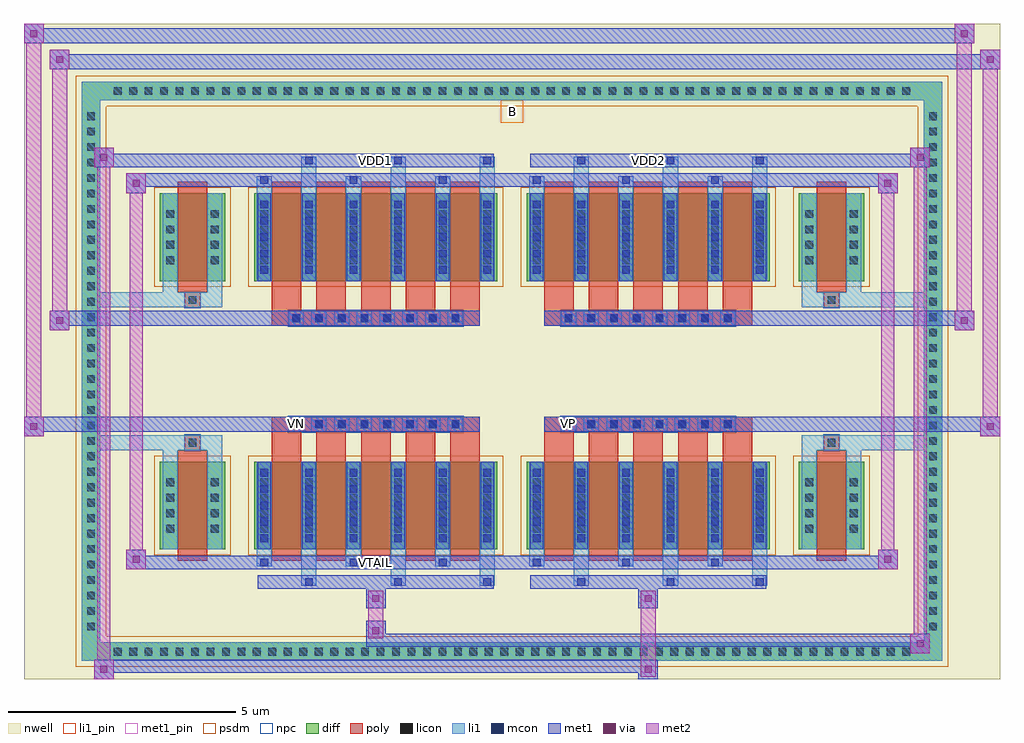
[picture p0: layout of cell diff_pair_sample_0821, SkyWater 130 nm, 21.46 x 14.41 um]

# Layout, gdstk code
import gdstk
lib = gdstk.Library(unit=1e-6, precision=5e-09)
def R(c, l, rs):  # rectangles x0, y0, x1, y1
    for r in rs: c.add(gdstk.rectangle(r[:2], r[2:], *l))
def A(c, l, x, y, w, h, nx, ny, dx, dy):  # array of equal rectangles
    R(c, l, [(x+i*dx, y+j*dy, x+i*dx+w, y+j*dy+h) for i in range(nx) for j in range(ny)])
def P(c, l, *ps):  # polygons
    for p in ps: c.add(gdstk.Polygon(p, *l))
nwell = (64, 20)
diff = (65, 20)
poly = (66, 20)
licon = (66, 44)
li1_pin = (67, 16)
li1 = (67, 20)
mcon = (67, 44)
met1_pin = (68, 16)
met1 = (68, 20)
via = (68, 44)
met2 = (69, 20)
psdm = (94, 20)
npc = (95, 20)

diff_pair_sample_0821 = lib.new_cell('diff_pair_sample_0821')
R(diff_pair_sample_0821, nwell, [(-10.73,-6.77,10.73,7.64), (-8.05,-4.96,-0.01,-0.8), (0.01,-4.96,8.05,-0.8), (-8.05,0.8,-0.01,4.96), (0.01,0.8,8.05,4.96)])
A(diff_pair_sample_0821, diff, -8.875, -6.37, 0.41, 0.41, 52, 2, 0.34, 12.33)
A(diff_pair_sample_0821, diff, -9.46, -5.815, 0.41, 0.41, 1, 34, 0, 0.34)
A(diff_pair_sample_0821, diff, 9.05, -5.815, 0.41, 0.41, 1, 34, 0, 0.34)
R(diff_pair_sample_0821, diff, [(-8.875,-6.37,8.875,-5.96), (-9.46,-5.815,-9.05,5.815), (9.05,-5.815,9.46,5.815), (-7.74,-3.915,-6.31,-1.985), (-5.67,-3.915,-0.32,-1.985), (0.32,-3.915,5.67,-1.985), (6.31,-3.915,7.74,-1.985), (-7.74,1.985,-6.31,3.915), (-5.67,1.985,-0.32,3.915), (0.32,1.985,5.67,3.915), (6.31,1.985,7.74,3.915), (-8.875,5.96,8.875,6.37)])
P(diff_pair_sample_0821, diff, [(9.46,6.37),(-9.46,6.37),(-9.46,-5.96),(-9.05,-5.96),(-9.05,5.96),(9.05,5.96),(9.05,-5.96),(-9.05,-5.96),(-9.46,-5.96),(-9.46,-6.37),(9.46,-6.37)])
A(diff_pair_sample_0821, poly, -5.28, -4.165, 0.65, 2.43, 5, 2, 0.98, 5.9)
A(diff_pair_sample_0821, poly, 0.71, -4.165, 0.65, 2.43, 5, 2, 0.98, 5.9)
A(diff_pair_sample_0821, poly, -5.28, -1.735, 0.65, 0.405, 5, 2, 0.98, 3.065)
A(diff_pair_sample_0821, poly, 0.71, -1.735, 0.65, 0.405, 5, 2, 0.98, 3.065)
A(diff_pair_sample_0821, poly, -4.91, -1.33, 0.33, 0.33, 8, 2, 0.5, 2.33)
A(diff_pair_sample_0821, poly, 1.08, -1.33, 0.33, 0.33, 8, 2, 0.5, 2.33)
R(diff_pair_sample_0821, poly, [(-7.35,-4.165,-6.7,-1.735), (6.7,-4.165,7.35,-1.735), (-7.19,-1.735,-6.86,-1.405), (-7.19,-1.735,-6.86,-1.405), (6.86,-1.735,7.19,-1.405), (6.86,-1.735,7.19,-1.405), (-5.28,-1.33,-0.71,-1), (0.71,-1.33,5.28,-1), (-5.28,1,-0.71,1.33), (0.71,1,5.28,1.33), (-7.19,1.405,-6.86,1.735), (-7.19,1.405,-6.86,1.735), (6.86,1.405,7.19,1.735), (6.86,1.405,7.19,1.735), (-7.35,1.735,-6.7,4.165), (6.7,1.735,7.35,4.165)])
A(diff_pair_sample_0821, licon, -8.755, -6.25, 0.17, 0.17, 52, 2, 0.34, 12.33)
A(diff_pair_sample_0821, licon, -9.34, -5.695, 0.17, 0.17, 1, 34, 0, 0.34)
A(diff_pair_sample_0821, licon, 9.17, -5.695, 0.17, 0.17, 1, 34, 0, 0.34)
A(diff_pair_sample_0821, licon, -7.6, -3.545, 0.17, 0.17, 1, 4, 0, 0.34)
A(diff_pair_sample_0821, licon, -6.62, -3.545, 0.17, 0.17, 1, 4, 0, 0.34)
A(diff_pair_sample_0821, licon, -5.53, -3.545, 0.17, 0.17, 6, 4, 0.98, 0.34)
A(diff_pair_sample_0821, licon, 0.46, -3.545, 0.17, 0.17, 6, 4, 0.98, 0.34)
A(diff_pair_sample_0821, licon, 6.45, -3.545, 0.17, 0.17, 1, 4, 0, 0.34)
A(diff_pair_sample_0821, licon, 7.43, -3.545, 0.17, 0.17, 1, 4, 0, 0.34)
A(diff_pair_sample_0821, licon, -4.83, -1.25, 0.17, 0.17, 8, 2, 0.5, 2.33)
A(diff_pair_sample_0821, licon, 1.16, -1.25, 0.17, 0.17, 8, 2, 0.5, 2.33)
A(diff_pair_sample_0821, licon, -7.6, 2.355, 0.17, 0.17, 1, 4, 0, 0.34)
A(diff_pair_sample_0821, licon, -6.62, 2.355, 0.17, 0.17, 1, 4, 0, 0.34)
A(diff_pair_sample_0821, licon, -5.53, 2.355, 0.17, 0.17, 6, 4, 0.98, 0.34)
A(diff_pair_sample_0821, licon, 0.46, 2.355, 0.17, 0.17, 6, 4, 0.98, 0.34)
A(diff_pair_sample_0821, licon, 6.45, 2.355, 0.17, 0.17, 1, 4, 0, 0.34)
A(diff_pair_sample_0821, licon, 7.43, 2.355, 0.17, 0.17, 1, 4, 0, 0.34)
R(diff_pair_sample_0821, licon, [(-7.11,-1.655,-6.94,-1.485), (6.94,-1.655,7.11,-1.485), (-7.11,1.485,-6.94,1.655), (6.94,1.485,7.11,1.655)])
R(diff_pair_sample_0821, li1_pin, [(-0.25,5.46,0.25,5.96)])
A(diff_pair_sample_0821, li1, -8.835, -6.33, 0.33, 0.33, 52, 2, 0.34, 12.33)
A(diff_pair_sample_0821, li1, -9.42, -5.775, 0.33, 0.33, 1, 34, 0, 0.34)
A(diff_pair_sample_0821, li1, 9.09, -5.775, 0.33, 0.33, 1, 34, 0, 0.34)
A(diff_pair_sample_0821, li1, -4.63, -4.72, 0.33, 0.805, 3, 2, 1.96, 8.635)
A(diff_pair_sample_0821, li1, -4.55, -4.72, 0.17, 0.17, 3, 2, 1.96, 9.27)
A(diff_pair_sample_0821, li1, 1.36, -4.72, 0.33, 0.805, 3, 2, 1.96, 8.635)
A(diff_pair_sample_0821, li1, 1.44, -4.72, 0.17, 0.17, 3, 2, 1.96, 9.27)
A(diff_pair_sample_0821, li1, -5.61, -4.29, 0.33, 0.375, 3, 2, 1.96, 8.205)
A(diff_pair_sample_0821, li1, -5.53, -4.29, 0.17, 0.17, 3, 2, 1.96, 8.41)
A(diff_pair_sample_0821, li1, 0.38, -4.29, 0.33, 0.375, 3, 2, 1.96, 8.205)
A(diff_pair_sample_0821, li1, 0.46, -4.29, 0.17, 0.17, 3, 2, 1.96, 8.41)
A(diff_pair_sample_0821, li1, -5.61, -3.915, 0.33, 1.93, 6, 2, 0.98, 5.9)
A(diff_pair_sample_0821, li1, 0.38, -3.915, 0.33, 1.93, 6, 2, 0.98, 5.9)
A(diff_pair_sample_0821, li1, -5.53, -3.755, 0.17, 0.17, 6, 5, 0.98, 0.36)
A(diff_pair_sample_0821, li1, -5.53, -3.755, 0.17, 1.61, 6, 2, 0.98, 5.9)
A(diff_pair_sample_0821, li1, 0.46, -3.755, 0.17, 0.17, 6, 5, 0.98, 0.36)
A(diff_pair_sample_0821, li1, 0.46, -3.755, 0.17, 1.61, 6, 2, 0.98, 5.9)
A(diff_pair_sample_0821, li1, -7.68, -3.625, 0.33, 0.33, 1, 4, 0, 0.34)
A(diff_pair_sample_0821, li1, -6.7, -3.625, 0.33, 0.33, 1, 4, 0, 0.34)
A(diff_pair_sample_0821, li1, -5.61, -3.625, 0.33, 0.33, 6, 4, 0.98, 0.34)
A(diff_pair_sample_0821, li1, 0.38, -3.625, 0.33, 0.33, 6, 4, 0.98, 0.34)
A(diff_pair_sample_0821, li1, 6.37, -3.625, 0.33, 0.33, 1, 4, 0, 0.34)
A(diff_pair_sample_0821, li1, 7.35, -3.625, 0.33, 0.33, 1, 4, 0, 0.34)
A(diff_pair_sample_0821, li1, -4.91, -1.33, 0.33, 0.33, 8, 2, 0.5, 2.33)
A(diff_pair_sample_0821, li1, 1.08, -1.33, 0.33, 0.33, 8, 2, 0.5, 2.33)
A(diff_pair_sample_0821, li1, -5.53, 2.145, 0.17, 0.17, 6, 5, 0.98, 0.36)
A(diff_pair_sample_0821, li1, 0.46, 2.145, 0.17, 0.17, 6, 5, 0.98, 0.36)
A(diff_pair_sample_0821, li1, -7.68, 2.275, 0.33, 0.33, 1, 4, 0, 0.34)
A(diff_pair_sample_0821, li1, -6.7, 2.275, 0.33, 0.33, 1, 4, 0, 0.34)
A(diff_pair_sample_0821, li1, -5.61, 2.275, 0.33, 0.33, 6, 4, 0.98, 0.34)
A(diff_pair_sample_0821, li1, 0.38, 2.275, 0.33, 0.33, 6, 4, 0.98, 0.34)
A(diff_pair_sample_0821, li1, 6.37, 2.275, 0.33, 0.33, 1, 4, 0, 0.34)
A(diff_pair_sample_0821, li1, 7.35, 2.275, 0.33, 0.33, 1, 4, 0, 0.34)
R(diff_pair_sample_0821, li1, [(-9.46,-6.37,-9.05,-5.96), (-9.46,-6.37,-9.05,-5.96), (-9.05,-6.37,9.05,-5.96), (9.05,-6.37,9.46,-5.96), (9.05,-6.37,9.46,-5.96), (-9.46,-5.96,-9.05,5.96), (9.05,-5.96,9.46,5.96), (-7.68,-3.915,-7.35,-1.985), (-6.7,-3.915,-6.37,-1.985), (6.37,-3.915,6.7,-1.985), (7.35,-3.915,7.68,-1.985), (-7.68,-1.985,-7.35,-1.405), (-6.7,-1.985,-6.37,-1.405), (6.37,-1.985,6.7,-1.405), (7.35,-1.985,7.68,-1.405), (-9.46,-1.735,-7.19,-1.405), (-7.68,-1.735,-7.19,-1.405), (-7.19,-1.735,-6.86,-1.405), (-6.86,-1.735,-6.37,-1.405), (6.37,-1.735,6.86,-1.405), (6.86,-1.735,7.19,-1.405), (6.86,-1.735,9.46,-1.405), (7.19,-1.735,7.68,-1.405), (-9.46,1.405,-7.19,1.735), (-7.68,1.405,-7.19,1.735), (-7.68,1.405,-7.35,1.985), (-7.19,1.405,-6.86,1.735), (-6.86,1.405,-6.37,1.735), (-6.7,1.405,-6.37,1.985), (6.37,1.405,6.86,1.735), (6.37,1.405,6.7,1.985), (6.86,1.405,7.19,1.735), (6.86,1.405,9.46,1.735), (7.19,1.405,7.68,1.735), (7.35,1.405,7.68,1.985), (-7.68,1.985,-7.35,3.915), (-6.7,1.985,-6.37,3.915), (6.37,1.985,6.7,3.915), (7.35,1.985,7.68,3.915), (-9.46,5.96,-9.05,6.37), (-9.46,5.96,-9.05,6.37), (-9.05,5.96,9.05,6.37), (9.05,5.96,9.46,6.37), (9.05,5.96,9.46,6.37)])
A(diff_pair_sample_0821, mcon, -4.55, -4.72, 0.17, 0.17, 3, 2, 1.96, 9.27)
A(diff_pair_sample_0821, mcon, 1.44, -4.72, 0.17, 0.17, 3, 2, 1.96, 9.27)
A(diff_pair_sample_0821, mcon, -5.53, -4.29, 0.17, 0.17, 3, 2, 1.96, 8.41)
A(diff_pair_sample_0821, mcon, 0.46, -4.29, 0.17, 0.17, 3, 2, 1.96, 8.41)
A(diff_pair_sample_0821, mcon, -5.53, -3.755, 0.17, 0.17, 6, 5, 0.98, 0.36)
A(diff_pair_sample_0821, mcon, 0.46, -3.755, 0.17, 0.17, 6, 5, 0.98, 0.36)
A(diff_pair_sample_0821, mcon, -4.83, -1.25, 0.17, 0.17, 8, 2, 0.5, 2.33)
A(diff_pair_sample_0821, mcon, 1.16, -1.25, 0.17, 0.17, 8, 2, 0.5, 2.33)
A(diff_pair_sample_0821, mcon, -5.53, 2.145, 0.17, 0.17, 6, 5, 0.98, 0.36)
A(diff_pair_sample_0821, mcon, 0.46, 2.145, 0.17, 0.17, 6, 5, 0.98, 0.36)
R(diff_pair_sample_0821, met1_pin, [(-3.13,-4.33,-2.86,-4.06), (-4.88,-1.29,-4.61,-1.02), (1.11,-1.29,1.38,-1.02), (-3.13,4.51,-2.86,4.78), (2.86,4.51,3.13,4.78)])
A(diff_pair_sample_0821, met1, -4.61, -4.78, 0.29, 0.29, 3, 2, 1.96, 9.27)
A(diff_pair_sample_0821, met1, 1.38, -4.78, 0.29, 0.29, 3, 2, 1.96, 9.27)
A(diff_pair_sample_0821, met1, -5.59, -4.35, 0.29, 0.29, 3, 2, 1.96, 8.41)
A(diff_pair_sample_0821, met1, 0.4, -4.35, 0.29, 0.29, 3, 2, 1.96, 8.41)
A(diff_pair_sample_0821, met1, -5.59, -3.915, 0.29, 1.93, 6, 2, 0.98, 5.9)
A(diff_pair_sample_0821, met1, 0.4, -3.915, 0.29, 1.93, 6, 2, 0.98, 5.9)
A(diff_pair_sample_0821, met1, -5.59, -3.815, 0.29, 0.29, 6, 5, 0.98, 0.36)
A(diff_pair_sample_0821, met1, 0.4, -3.815, 0.29, 0.29, 6, 5, 0.98, 0.36)
A(diff_pair_sample_0821, met1, -4.89, -1.31, 0.29, 0.29, 8, 2, 0.5, 2.33)
A(diff_pair_sample_0821, met1, 1.1, -1.31, 0.29, 0.29, 8, 2, 0.5, 2.33)
A(diff_pair_sample_0821, met1, -5.59, 2.085, 0.29, 0.29, 6, 5, 0.98, 0.36)
A(diff_pair_sample_0821, met1, 0.4, 2.085, 0.29, 0.29, 6, 5, 0.98, 0.36)
R(diff_pair_sample_0821, met1, [(-9.19,-6.77,-8.76,-6.34), (2.78,-6.77,3.21,-6.34), (-9.19,-6.63,3.21,-6.34), (8.76,-6.2,9.19,-5.77), (-3.21,-6.06,9.19,-5.77), (-3.21,-5.92,-2.78,-5.49), (-3.21,-5.21,-2.78,-4.78), (2.78,-5.21,3.21,-4.78), (-5.59,-4.78,-0.4,-4.49), (0.4,-4.78,5.59,-4.49), (-8.48,-4.35,-8.05,-3.92), (-8.48,-4.35,-5.59,-4.06), (-5.59,-4.35,-0.4,-4.06), (-0.4,-4.35,0.4,-4.06), (0.4,-4.35,5.59,-4.06), (5.59,-4.35,8.48,-4.06), (8.05,-4.35,8.48,-3.92), (-10.73,-1.43,-10.3,-1), (10.3,-1.43,10.73,-1), (-10.73,-1.33,-0.71,-1), (-5.28,-1.33,-0.71,-1), (0.71,-1.33,5.28,-1), (0.71,-1.33,10.73,-1), (-10.16,0.9,-9.73,1.33), (9.73,0.9,10.16,1.33), (-10.16,1,-5.28,1.33), (-5.28,1,-0.71,1.33), (0.71,1,5.28,1.33), (5.28,1,10.16,1.33), (-8.48,3.92,-8.05,4.35), (8.05,3.92,8.48,4.35), (-8.48,4.06,-5.59,4.35), (-5.59,4.06,-0.4,4.35), (-0.4,4.06,0.4,4.35), (0.4,4.06,5.59,4.35), (5.59,4.06,8.48,4.35), (-9.19,4.49,-8.76,4.92), (-9.19,4.49,-5.59,4.78), (-5.59,4.49,-0.4,4.78), (0.4,4.49,5.59,4.78), (5.59,4.49,9.19,4.78), (8.76,4.49,9.19,4.92), (-10.16,6.64,-9.73,7.07), (-10.16,6.64,-8.05,6.97), (-8.05,6.64,8.05,6.97), (8.05,6.64,10.73,6.97), (10.3,6.64,10.73,7.07), (-10.73,7.21,-10.3,7.64), (-10.73,7.21,-8.05,7.54), (-8.05,7.21,8.05,7.54), (8.05,7.21,10.16,7.54), (9.73,7.21,10.16,7.64)])
R(diff_pair_sample_0821, via, [(-9.05,-6.63,-8.9,-6.48), (2.92,-6.63,3.07,-6.48), (8.9,-6.06,9.05,-5.91), (-3.07,-5.78,-2.92,-5.63), (-3.07,-5.07,-2.92,-4.92), (2.92,-5.07,3.07,-4.92), (-8.34,-4.21,-8.19,-4.06), (8.19,-4.21,8.34,-4.06), (-10.59,-1.29,-10.44,-1.14), (10.44,-1.29,10.59,-1.14), (-10.02,1.04,-9.87,1.19), (9.87,1.04,10.02,1.19), (-8.34,4.06,-8.19,4.21), (8.19,4.06,8.34,4.21), (-9.05,4.63,-8.9,4.78), (8.9,4.63,9.05,4.78), (-10.02,6.78,-9.87,6.93), (10.44,6.78,10.59,6.93), (-10.59,7.35,-10.44,7.5), (9.87,7.35,10.02,7.5)])
R(diff_pair_sample_0821, met2, [(-9.19,-6.77,-8.76,-6.34), (-9.12,-6.77,-8.83,4.92), (-8.83,-6.77,-8.76,-6.34), (-9.14,-6.72,-8.81,-6.39), (2.83,-6.72,3.16,-6.39), (2.83,-6.39,3.16,-5.16), (8.76,-6.2,9.19,-5.77), (8.83,-6.2,9.12,4.92), (9.12,-6.2,9.19,-5.77), (8.81,-6.15,9.14,-5.82), (-3.16,-5.87,-2.83,-5.54), (-3.16,-5.54,-2.83,-5.16), (-3.16,-5.16,-2.83,-4.83), (2.83,-5.16,3.16,-4.83), (-8.48,-4.35,-8.05,-3.92), (-8.41,-4.35,-8.12,4.35), (-8.12,-4.35,-8.05,-3.92), (8.05,-4.35,8.48,-3.92), (8.12,-4.35,8.41,4.35), (8.41,-4.35,8.48,-3.92), (-8.43,-4.3,-8.1,-3.97), (8.1,-4.3,8.43,-3.97), (-10.73,-1.43,-10.3,-1), (-10.68,-1.43,-10.35,7.64), (-10.35,-1.43,-10.3,-1), (10.3,-1.43,10.73,-1), (10.35,-1.43,10.68,7.07), (10.68,-1.43,10.73,-1), (-10.68,-1.38,-10.35,-1.05), (10.35,-1.38,10.68,-1.05), (-10.16,0.9,-9.73,1.33), (-10.11,0.9,-9.78,7.07), (-9.78,0.9,-9.73,1.33), (9.73,0.9,10.16,1.33), (9.78,0.9,10.11,7.64), (10.11,0.9,10.16,1.33), (-10.11,0.95,-9.78,1.28), (9.78,0.95,10.11,1.28), (-8.48,3.92,-8.05,4.35), (-8.12,3.92,-8.05,4.35), (8.05,3.92,8.48,4.35), (8.41,3.92,8.48,4.35), (-8.43,3.97,-8.1,4.3), (8.1,3.97,8.43,4.3), (-9.19,4.49,-8.76,4.92), (-8.83,4.49,-8.76,4.92), (8.76,4.49,9.19,4.92), (9.12,4.49,9.19,4.92), (-9.14,4.54,-8.81,4.87), (8.81,4.54,9.14,4.87), (-10.16,6.64,-9.73,7.07), (-9.78,6.64,-9.73,7.07), (10.3,6.64,10.73,7.07), (10.68,6.64,10.73,7.07), (-10.11,6.69,-9.78,7.02), (10.35,6.69,10.68,7.02), (-10.73,7.21,-10.3,7.64), (-10.35,7.21,-10.3,7.64), (9.73,7.21,10.16,7.64), (10.11,7.21,10.16,7.64), (-10.68,7.26,-10.35,7.59), (9.78,7.26,10.11,7.59)])
R(diff_pair_sample_0821, psdm, [(-7.87,-4.045,-6.18,-1.855), (-5.8,-4.045,-0.19,-1.855), (0.19,-4.045,5.8,-1.855), (6.18,-4.045,7.87,-1.855), (-7.87,1.855,-6.18,4.045), (-5.8,1.855,-0.19,4.045), (0.19,1.855,5.8,4.045), (6.18,1.855,7.87,4.045)])
P(diff_pair_sample_0821, psdm, [(9.59,6.5),(-9.59,6.5),(-9.59,-5.83),(-8.92,-5.83),(-8.92,5.83),(8.92,5.83),(8.92,-5.83),(-8.92,-5.83),(-9.59,-5.83),(-9.59,-6.5),(9.59,-6.5)])
A(diff_pair_sample_0821, npc, -4.93, -1.35, 0.37, 0.37, 8, 2, 0.5, 2.33)
A(diff_pair_sample_0821, npc, 1.06, -1.35, 0.37, 0.37, 8, 2, 0.5, 2.33)
R(diff_pair_sample_0821, npc, [(-7.21,-1.755,-6.84,-1.385), (6.84,-1.755,7.21,-1.385), (-4.93,-1.35,-4.06,-0.98), (-4.93,-1.35,-4.06,-0.98), (-4.43,-1.35,-3.56,-0.98), (-4.43,-1.35,-3.56,-0.98), (-3.93,-1.35,-3.06,-0.98), (-3.93,-1.35,-3.06,-0.98), (-3.43,-1.35,-2.56,-0.98), (-3.43,-1.35,-2.56,-0.98), (-2.93,-1.35,-2.06,-0.98), (-2.93,-1.35,-2.06,-0.98), (-2.43,-1.35,-1.56,-0.98), (-2.43,-1.35,-1.56,-0.98), (-1.93,-1.35,-1.06,-0.98), (-1.93,-1.35,-1.06,-0.98), (1.06,-1.35,1.93,-0.98), (1.06,-1.35,1.93,-0.98), (1.56,-1.35,2.43,-0.98), (1.56,-1.35,2.43,-0.98), (2.06,-1.35,2.93,-0.98), (2.06,-1.35,2.93,-0.98), (2.56,-1.35,3.43,-0.98), (2.56,-1.35,3.43,-0.98), (3.06,-1.35,3.93,-0.98), (3.06,-1.35,3.93,-0.98), (3.56,-1.35,4.43,-0.98), (3.56,-1.35,4.43,-0.98), (4.06,-1.35,4.93,-0.98), (4.06,-1.35,4.93,-0.98), (-4.93,0.98,-4.06,1.35), (-4.93,0.98,-4.06,1.35), (-4.43,0.98,-3.56,1.35), (-4.43,0.98,-3.56,1.35), (-3.93,0.98,-3.06,1.35), (-3.93,0.98,-3.06,1.35), (-3.43,0.98,-2.56,1.35), (-3.43,0.98,-2.56,1.35), (-2.93,0.98,-2.06,1.35), (-2.93,0.98,-2.06,1.35), (-2.43,0.98,-1.56,1.35), (-2.43,0.98,-1.56,1.35), (-1.93,0.98,-1.06,1.35), (-1.93,0.98,-1.06,1.35), (1.06,0.98,1.93,1.35), (1.06,0.98,1.93,1.35), (1.56,0.98,2.43,1.35), (1.56,0.98,2.43,1.35), (2.06,0.98,2.93,1.35), (2.06,0.98,2.93,1.35), (2.56,0.98,3.43,1.35), (2.56,0.98,3.43,1.35), (3.06,0.98,3.93,1.35), (3.06,0.98,3.93,1.35), (3.56,0.98,4.43,1.35), (3.56,0.98,4.43,1.35), (4.06,0.98,4.93,1.35), (4.06,0.98,4.93,1.35), (-7.21,1.385,-6.84,1.755), (6.84,1.385,7.21,1.755)])
diff_pair_sample_0821.add(gdstk.Label('VTAIL', (-2.995,-4.195), layer=68, texttype=5))
diff_pair_sample_0821.add(gdstk.Label('VN', (-4.745,-1.155), layer=68, texttype=5))
diff_pair_sample_0821.add(gdstk.Label('VP', (1.245,-1.155), layer=68, texttype=5))
diff_pair_sample_0821.add(gdstk.Label('B', (0,5.71), layer=67, texttype=5))
diff_pair_sample_0821.add(gdstk.Label('VDD2', (2.995,4.645), layer=68, texttype=5))
diff_pair_sample_0821.add(gdstk.Label('VDD1', (-2.995,4.645), layer=68, texttype=5))

lib.write_gds('diff_pair_sample_0821.gds')
